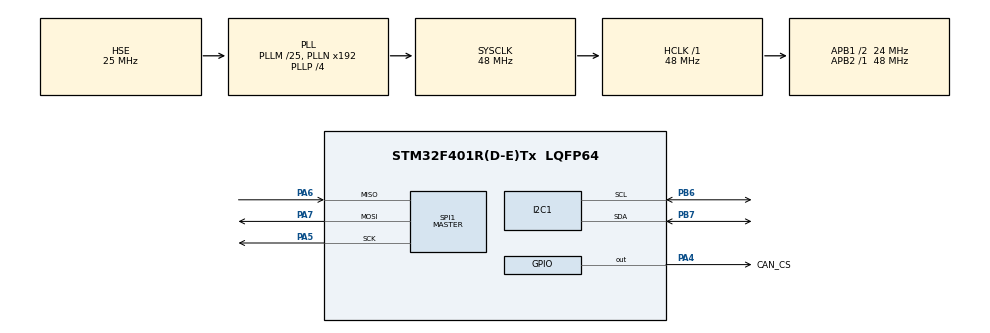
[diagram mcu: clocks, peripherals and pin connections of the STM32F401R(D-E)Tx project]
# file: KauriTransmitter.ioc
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Mcu.Family=STM32F4
Mcu.Name=STM32F401R(D-E)Tx
Mcu.Package=LQFP64
NVIC.PriorityGroup=NVIC_PRIORITYGROUP_4
PA13.Mode=Serial_Wire
PA13.Signal=SYS_JTMS-SWDIO
PA14.Mode=Serial_Wire
PA14.Signal=SYS_JTCK-SWCLK
PA4.GPIO_Label=CAN_CS
PA4.Signal=GPIO_Output
PA5.Mode=Full_Duplex_Master
PA5.Signal=SPI1_SCK
PA6.Mode=Full_Duplex_Master
PA6.Signal=SPI1_MISO
PA7.Mode=Full_Duplex_Master
PA7.Signal=SPI1_MOSI
PB6.Mode=I2C
PB6.Signal=I2C1_SCL
PB7.Mode=I2C
PB7.Signal=I2C1_SDA
PH0\ -\ OSC_IN.Mode=HSE-External-Oscillator
PH0\ -\ OSC_IN.Signal=RCC_OSC_IN
PH1\ -\ OSC_OUT.Mode=HSE-External-Oscillator
PH1\ -\ OSC_OUT.Signal=RCC_OSC_OUT
ProjectManager.HeapSize=0x200
ProjectManager.StackSize=0x400
ProjectManager.TargetToolchain=STM32CubeIDE
RCC.48MHZClocksFreq_Value=48000000
RCC.AHBFreq_Value=48000000
RCC.APB1CLKDivider=RCC_HCLK_DIV2
RCC.APB1Freq_Value=24000000
RCC.APB1TimFreq_Value=48000000
RCC.APB2Freq_Value=48000000
RCC.APB2TimFreq_Value=48000000
RCC.CortexFreq_Value=48000000
RCC.HCLKFreq_Value=48000000
RCC.HSE_VALUE=25000000
RCC.HSI_VALUE=16000000
RCC.LSE_VALUE=32768
RCC.PLLM=25
RCC.PLLP=RCC_PLLP_DIV4
RCC.PLLSourceVirtual=RCC_PLLSOURCE_HSE
RCC.SYSCLKFreq_VALUE=48000000
RCC.SYSCLKSource=RCC_SYSCLKSOURCE_PLLCLK
RCC.VCOOutputFreq_Value=192000000
SPI1.Direction=SPI_DIRECTION_2LINES
SPI1.Mode=SPI_MODE_MASTER
SPI1.VirtualType=VM_MASTER
board=custom

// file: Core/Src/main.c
/* USER CODE BEGIN Header */
/**
  ******************************************************************************
  * @file           : main.c
  * @brief          : Main program body
  ******************************************************************************
  * @attention
  *
  * Copyright (c) 2023 STMicroelectronics.
  * All rights reserved.
  *
  * This software is licensed under terms that can be found in the LICENSE file
  * in the root directory of this software component.
  * If no LICENSE file comes with this software, it is provided AS-IS.
  *
  ******************************************************************************
  */
/* USER CODE END Header */
#include "main.h"
#include "i2c.h"
#include "spi.h"
#include "gpio.h"

/* USER CODE BEGIN Includes */
#include "string.h"
#include "accel.h"
#include "CANSPI.h"
/* USER CODE END Includes */

void SystemClock_Config(void);

/* USER CODE BEGIN 0 */

uCAN_MSG txMessage;

/* USER CODE END 0 */

int main(void)
{

  /* MCU Configuration--------------------------------------------------------*/

  /* Reset of all peripherals, Initializes the Flash interface and the Systick. */
  HAL_Init();

  /* Configure the system clock */
  SystemClock_Config();

  /* Initialize all configured peripherals */
  MX_GPIO_Init();
  MX_I2C1_Init();
  MX_SPI1_Init();
  /* USER CODE BEGIN 2 */

  CANSPI_Initialize();

  //init of sensor
  accel_init(&hi2c1);

  /* USER CODE END 2 */

  /* Infinite loop */
  /* USER CODE BEGIN WHILE */
  while (1)
  {

	  //buffer for data
	  uint8_t data[6] = {0};

	  //if ready to get data
	  if(accel_get_data(data)) continue;

	  //create data packet
	  txMessage.frame.idType = dSTANDARD_CAN_MSG_ID_2_0B;
	  txMessage.frame.id = 0x0A;
	  txMessage.frame.dlc = 8;
	  txMessage.frame.data0 = data[0];
	  txMessage.frame.data1 = data[1];
	  txMessage.frame.data2 = data[2];
	  txMessage.frame.data3 = data[3];
	  txMessage.frame.data4 = data[4];
	  txMessage.frame.data5 = data[5];
	  txMessage.frame.data6 = 0;
	  txMessage.frame.data7 = 0;
	  CANSPI_Transmit(&txMessage);

	  HAL_Delay(100);
    /* USER CODE END WHILE */

  }
}

void SystemClock_Config(void)
{
  RCC_OscInitTypeDef RCC_OscInitStruct = {0};
  RCC_ClkInitTypeDef RCC_ClkInitStruct = {0};

  /** Configure the main internal regulator output voltage
  */
  __HAL_RCC_PWR_CLK_ENABLE();
  __HAL_PWR_VOLTAGESCALING_CONFIG(PWR_REGULATOR_VOLTAGE_SCALE2);

  /** Initializes the RCC Oscillators according to the specified parameters
  * in the RCC_OscInitTypeDef structure.
  */
  RCC_OscInitStruct.OscillatorType = RCC_OSCILLATORTYPE_HSE;
  RCC_OscInitStruct.HSEState = RCC_HSE_ON;
  RCC_OscInitStruct.PLL.PLLState = RCC_PLL_ON;
  RCC_OscInitStruct.PLL.PLLSource = RCC_PLLSOURCE_HSE;
  RCC_OscInitStruct.PLL.PLLM = 25;
  RCC_OscInitStruct.PLL.PLLN = 192;
  RCC_OscInitStruct.PLL.PLLP = RCC_PLLP_DIV4;
  RCC_OscInitStruct.PLL.PLLQ = 4;
  if (HAL_RCC_OscConfig(&RCC_OscInitStruct) != HAL_OK)
  {
    Error_Handler();
  }

  /** Initializes the CPU, AHB and APB buses clocks
  */
  RCC_ClkInitStruct.ClockType = RCC_CLOCKTYPE_HCLK|RCC_CLOCKTYPE_SYSCLK
                              |RCC_CLOCKTYPE_PCLK1|RCC_CLOCKTYPE_PCLK2;
  RCC_ClkInitStruct.SYSCLKSource = RCC_SYSCLKSOURCE_PLLCLK;
  RCC_ClkInitStruct.AHBCLKDivider = RCC_SYSCLK_DIV1;
  RCC_ClkInitStruct.APB1CLKDivider = RCC_HCLK_DIV2;
  RCC_ClkInitStruct.APB2CLKDivider = RCC_HCLK_DIV1;

  if (HAL_RCC_ClockConfig(&RCC_ClkInitStruct, FLASH_LATENCY_1) != HAL_OK)
  {
    Error_Handler();
  }
}

void Error_Handler(void)
{
  __disable_irq();
  while (1)
  {
  }
}
